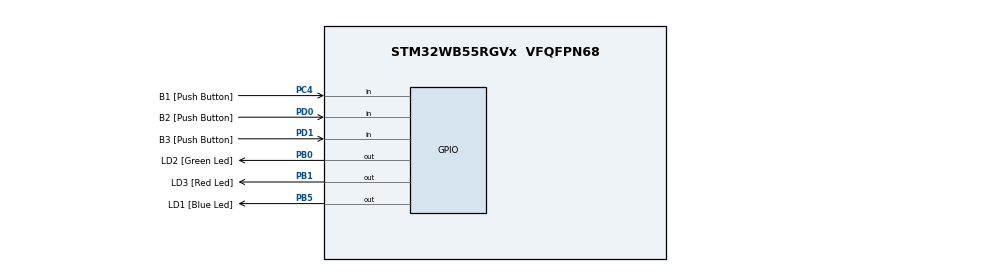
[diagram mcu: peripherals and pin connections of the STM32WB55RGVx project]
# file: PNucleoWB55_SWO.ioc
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Mcu.Family=STM32WB
Mcu.Name=STM32WB55RGVx
Mcu.Package=VFQFPN68
NVIC.PriorityGroup=NVIC_PRIORITYGROUP_4
PA13.GPIO_Label=JTMS
PA13.Mode=Trace_Asynchronous_SW
PA13.Signal=SYS_JTMS-SWDIO
PA14.GPIO_Label=JTCK
PA14.Mode=Trace_Asynchronous_SW
PA14.Signal=SYS_JTCK-SWCLK
PB0.GPIO_Label=LD2 [Green Led]
PB0.Signal=GPIO_Output
PB1.GPIO_Label=LD3 [Red Led]
PB1.Signal=GPIO_Output
PB3.GPIO_Label=JTDO
PB3.Mode=Trace_Asynchronous_SW
PB3.Signal=SYS_JTDO-SWO
PB5.GPIO_Label=LD1 [Blue Led]
PB5.Signal=GPIO_Output
PC13.Mode=SYS_WakeUp1
PC13.Signal=SYS_WKUP2
PC4.GPIO_Label=B1 [Push Button]
PC4.Signal=GPIO_Input
PD0.GPIO_Label=B2 [Push Button]
PD0.Signal=GPIO_Input
PD1.GPIO_Label=B3 [Push Button]
PD1.Signal=GPIO_Input
ProjectManager.HeapSize=0x200
ProjectManager.StackSize=0x400
ProjectManager.TargetToolchain=STM32CubeIDE
RCC.ADCFreq_Value=48000000
RCC.AHB2CLKDivider=RCC_SYSCLK_DIV2
RCC.AHBFreq_Value=64000000
RCC.APB1Freq_Value=64000000
RCC.APB1TimFreq_Value=64000000
RCC.APB2Freq_Value=64000000
RCC.APB2TimFreq_Value=64000000
RCC.APB3Freq_Value=16000000
RCC.CortexFreq_Value=64000000
RCC.HCLKFreq_Value=64000000
RCC.HSE_VALUE=32000000
RCC.HSI48_VALUE=48000000
RCC.HSI_VALUE=16000000
RCC.PLLN=32
RCC.PLLSAI1N=24
RCC.SMPSCLockSelectionVirtual=RCC_SMPSCLKSOURCE_HSI
RCC.SMPSCLockSelectionVirtualVirtual=RCC_SMPSCLKSOURCE_HSI
RCC.SYSCLKFreq_VALUE=64000000
RCC.SYSCLKSource=RCC_SYSCLKSOURCE_PLLCLK
RCC.USBFreq_Value=48000000
RCC.VCOOutputFreq_Value=128000000
board=P-NUCLEO-WB55-Nucleo

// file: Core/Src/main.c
/* USER CODE BEGIN Header */
/**
  ******************************************************************************
  * @file           : main.c
  * @brief          : Main program body
  ******************************************************************************
  * @attention
  *
  * <h2><center>&copy; Copyright (c) 2020 STMicroelectronics.
  * All rights reserved.</center></h2>
  *
  * This software component is licensed by ST under BSD 3-Clause license,
  * the "License"; You may not use this file except in compliance with the
  * License. You may obtain a copy of the License at:
  *                        opensource.org/licenses/BSD-3-Clause
  *
  ******************************************************************************
  */
/* USER CODE END Header */

#include "main.h"

/* USER CODE BEGIN Includes */
#include <stdio.h>
#include <math.h>

/* USER CODE END Includes */

/* USER CODE BEGIN PV */
static float g_Arg, g_Sin, g_Cos;

/* USER CODE END PV */

void SystemClock_Config(void);
static void MX_GPIO_Init(void);

int main(void)
{

  /* MCU Configuration--------------------------------------------------------*/

  /* Reset of all peripherals, Initializes the Flash interface and the Systick. */
  HAL_Init();

  /* Configure the system clock */
  SystemClock_Config();

  /* Initialize all configured peripherals */
  MX_GPIO_Init();
  /* USER CODE BEGIN 2 */

  /**> Simple printf using stdio through swo
   * Configure Debug session and enable STLinkV2_1 SWV Freq=64.0MHz
   * Run debugger, select Window->Show View->SWV and enable SWV ITM Console
   * and SWV Data Trace Timeline Graph
   * Set ITM Stimulus Port 0 in SWV Configure Trace
   * Add variable g_Sin and g_Cos in Data Trace Comparator 0 and Comparator 1
   * Enable Start Trace (red button) and Resume debugger
   * You should see >Printf with SWO into SWV ITM Data Console and also g-Sin and
   * g_Cos plot into SWV Data Trace Timeline Graph */
  printf(">Printf with SWO\r\n");

  /* USER CODE END 2 */

  /* Infinite loop */
  while (1)
  {

    /* USER CODE BEGIN 3 */
  	for (g_Arg = 0; ;g_Arg += 0.01F)
		{
  		g_Sin = sinf(g_Arg);
			g_Cos = cosf(g_Arg);

			uint32_t totalCycles = 5000;
			uint32_t onCycles = (int)(totalCycles * (g_Sin + 1)) / 2;
			uint32_t offCycles = totalCycles - onCycles;

			HAL_GPIO_WritePin(LD1_GPIO_Port, LD1_Pin, GPIO_PIN_SET);
			for (uint32_t i = 0; i < onCycles; i++)
				asm("nop");

			HAL_GPIO_WritePin(LD1_GPIO_Port, LD1_Pin, GPIO_PIN_RESET);
			for (uint32_t i = 0; i < offCycles; i++)
				asm("nop");
		}
  }
  /* USER CODE END 3 */
}

void SystemClock_Config(void)
{
  RCC_OscInitTypeDef RCC_OscInitStruct = {0};
  RCC_ClkInitTypeDef RCC_ClkInitStruct = {0};
  RCC_PeriphCLKInitTypeDef PeriphClkInitStruct = {0};

  /** Configure the main internal regulator output voltage
  */
  __HAL_PWR_VOLTAGESCALING_CONFIG(PWR_REGULATOR_VOLTAGE_SCALE1);
  /** Initializes the CPU, AHB and APB busses clocks
  */
  RCC_OscInitStruct.OscillatorType = RCC_OSCILLATORTYPE_HSI|RCC_OSCILLATORTYPE_MSI;
  RCC_OscInitStruct.HSIState = RCC_HSI_ON;
  RCC_OscInitStruct.MSIState = RCC_MSI_ON;
  RCC_OscInitStruct.HSICalibrationValue = RCC_HSICALIBRATION_DEFAULT;
  RCC_OscInitStruct.MSICalibrationValue = RCC_MSICALIBRATION_DEFAULT;
  RCC_OscInitStruct.MSIClockRange = RCC_MSIRANGE_6;
  RCC_OscInitStruct.PLL.PLLState = RCC_PLL_ON;
  RCC_OscInitStruct.PLL.PLLSource = RCC_PLLSOURCE_MSI;
  RCC_OscInitStruct.PLL.PLLM = RCC_PLLM_DIV1;
  RCC_OscInitStruct.PLL.PLLN = 32;
  RCC_OscInitStruct.PLL.PLLP = RCC_PLLP_DIV2;
  RCC_OscInitStruct.PLL.PLLR = RCC_PLLR_DIV2;
  RCC_OscInitStruct.PLL.PLLQ = RCC_PLLQ_DIV2;
  if (HAL_RCC_OscConfig(&RCC_OscInitStruct) != HAL_OK)
  {
    Error_Handler();
  }
  /** Configure the SYSCLKSource, HCLK, PCLK1 and PCLK2 clocks dividers
  */
  RCC_ClkInitStruct.ClockType = RCC_CLOCKTYPE_HCLK4|RCC_CLOCKTYPE_HCLK2
                              |RCC_CLOCKTYPE_HCLK|RCC_CLOCKTYPE_SYSCLK
                              |RCC_CLOCKTYPE_PCLK1|RCC_CLOCKTYPE_PCLK2;
  RCC_ClkInitStruct.SYSCLKSource = RCC_SYSCLKSOURCE_PLLCLK;
  RCC_ClkInitStruct.AHBCLKDivider = RCC_SYSCLK_DIV1;
  RCC_ClkInitStruct.APB1CLKDivider = RCC_HCLK_DIV1;
  RCC_ClkInitStruct.APB2CLKDivider = RCC_HCLK_DIV1;
  RCC_ClkInitStruct.AHBCLK2Divider = RCC_SYSCLK_DIV2;
  RCC_ClkInitStruct.AHBCLK4Divider = RCC_SYSCLK_DIV1;

  if (HAL_RCC_ClockConfig(&RCC_ClkInitStruct, FLASH_LATENCY_3) != HAL_OK)
  {
    Error_Handler();
  }
  /** Initializes the peripherals clocks
  */
  PeriphClkInitStruct.PeriphClockSelection = RCC_PERIPHCLK_SMPS;
  PeriphClkInitStruct.SmpsClockSelection = RCC_SMPSCLKSOURCE_HSI;
  PeriphClkInitStruct.SmpsDivSelection = RCC_SMPSCLKDIV_RANGE1;

  if (HAL_RCCEx_PeriphCLKConfig(&PeriphClkInitStruct) != HAL_OK)
  {
    Error_Handler();
  }
}

static void MX_GPIO_Init(void)
{
  GPIO_InitTypeDef GPIO_InitStruct = {0};

  /* GPIO Ports Clock Enable */
  __HAL_RCC_GPIOC_CLK_ENABLE();
  __HAL_RCC_GPIOB_CLK_ENABLE();
  __HAL_RCC_GPIOA_CLK_ENABLE();
  __HAL_RCC_GPIOD_CLK_ENABLE();

  /*Configure GPIO pin Output Level */
  HAL_GPIO_WritePin(GPIOB, LD2_Pin|LD3_Pin|LD1_Pin, GPIO_PIN_RESET);

  /*Configure GPIO pin : B1_Pin */
  GPIO_InitStruct.Pin = B1_Pin;
  GPIO_InitStruct.Mode = GPIO_MODE_INPUT;
  GPIO_InitStruct.Pull = GPIO_NOPULL;
  HAL_GPIO_Init(B1_GPIO_Port, &GPIO_InitStruct);

  /*Configure GPIO pins : LD2_Pin LD3_Pin LD1_Pin */
  GPIO_InitStruct.Pin = LD2_Pin|LD3_Pin|LD1_Pin;
  GPIO_InitStruct.Mode = GPIO_MODE_OUTPUT_PP;
  GPIO_InitStruct.Pull = GPIO_NOPULL;
  GPIO_InitStruct.Speed = GPIO_SPEED_FREQ_LOW;
  HAL_GPIO_Init(GPIOB, &GPIO_InitStruct);

  /*Configure GPIO pins : B2_Pin B3_Pin */
  GPIO_InitStruct.Pin = B2_Pin|B3_Pin;
  GPIO_InitStruct.Mode = GPIO_MODE_INPUT;
  GPIO_InitStruct.Pull = GPIO_NOPULL;
  HAL_GPIO_Init(GPIOD, &GPIO_InitStruct);

}

void Error_Handler(void)
{
}

/************************ (C) COPYRIGHT STMicroelectronics *****END OF FILE****/
